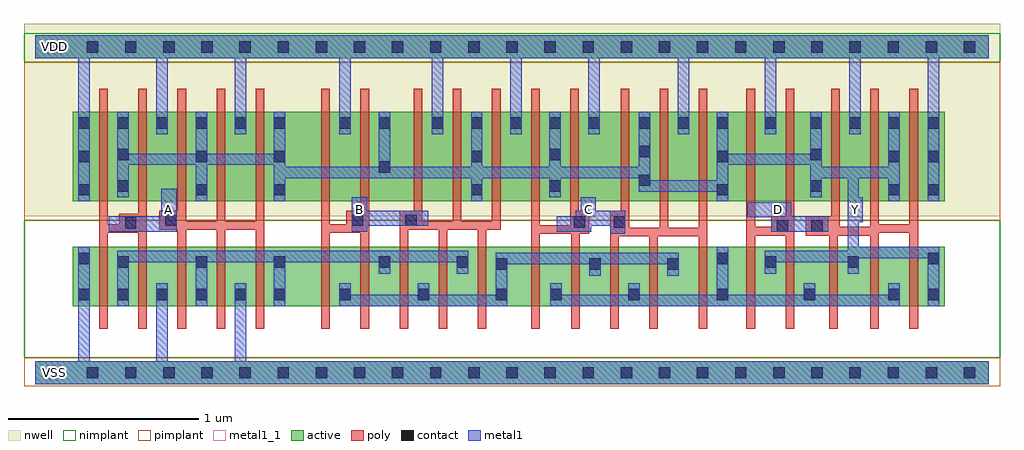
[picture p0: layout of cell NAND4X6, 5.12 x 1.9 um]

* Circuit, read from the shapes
.subckt NAND4X6 A B C D VDD VSS Y
M1 n1 A VSS VSS nfet w=0.31u l=0.045u m=5
M2 n2 B n1 VSS nfet w=0.31u l=0.045u m=5
M3 n3 C n2 VSS nfet w=0.31u l=0.045u m=5
M4 Y D n3 VSS nfet w=0.31u l=0.045u m=5
M5 Y A VDD VDD pfet w=0.47u l=0.045u m=5
M6 VDD B Y VDD pfet w=0.47u l=0.045u m=5
M7 Y C VDD VDD pfet w=0.47u l=0.045u m=5
M8 VDD D Y VDD pfet w=0.47u l=0.045u m=5
.ends

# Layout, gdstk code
import gdstk
lib = gdstk.Library(unit=1e-6, precision=5e-10)
def R(c, l, rs):  # rectangles x0, y0, x1, y1
    for r in rs: c.add(gdstk.rectangle(r[:2], r[2:], *l))
def A(c, l, x, y, w, h, nx, ny, dx, dy):  # array of equal rectangles
    R(c, l, [(x+i*dx, y+j*dy, x+i*dx+w, y+j*dy+h) for i in range(nx) for j in range(ny)])
def P(c, l, *ps):  # polygons
    for p in ps: c.add(gdstk.Polygon(p, *l))
active = (1, 0)
nwell = (2, 0)
poly = (3, 0)
nimplant = (4, 0)
pimplant = (5, 0)
contact = (6, 0)
metal1 = (7, 0)
metal1_1 = (7, 1)

nand4x6 = lib.new_cell('NAND4X6')
R(nand4x6, active, [(0,-0.06,5,0.06), (0.195,0.35,4.77,0.66), (0.195,0.9,4.77,1.37), (0,1.65,5,1.77)])
R(nand4x6, nwell, [(-0.06,0.82,5.06,1.83)])
P(nand4x6, poly, [(0.335,1.49),(0.38,1.49),(0.38,0.78),(0.44,0.78),(0.44,0.835),(0.54,0.835),(0.54,1.49),(0.585,1.49),(0.585,0.23),(0.54,0.23),(0.54,0.735),(0.38,0.735),(0.38,0.23),(0.335,0.23)],
  [(0.745,1.49),(0.79,1.49),(0.79,0.795),(0.95,0.795),(0.95,1.49),(0.995,1.49),(0.995,0.795),(1.155,0.795),(1.155,1.49),(1.2,1.49),(1.2,0.23),(1.155,0.23),(1.155,0.75),(0.995,0.75),(0.995,0.23),(0.95,0.23),(0.95,0.75),(0.79,0.75),(0.79,0.23),(0.745,0.23),(0.745,0.75),(0.65,0.75),(0.65,0.85),(0.745,0.85)],
  [(1.5,1.49),(1.545,1.49),(1.545,0.78),(1.63,0.78),(1.63,0.85),(1.705,0.85),(1.705,1.49),(1.75,1.49),(1.75,0.23),(1.705,0.23),(1.705,0.735),(1.545,0.735),(1.545,0.23),(1.5,0.23)],
  [(1.985,1.49),(2.03,1.49),(2.03,0.795),(2.19,0.795),(2.19,1.49),(2.235,1.49),(2.235,0.795),(2.395,0.795),(2.395,1.49),(2.44,1.49),(2.44,0.75),(2.365,0.75),(2.365,0.23),(2.32,0.23),(2.32,0.75),(2.16,0.75),(2.16,0.23),(2.115,0.23),(2.115,0.75),(1.955,0.75),(1.955,0.23),(1.91,0.23),(1.91,0.85),(1.985,0.85)],
  [(2.6,1.49),(2.645,1.49),(2.645,0.775),(2.805,0.775),(2.805,1.49),(2.85,1.49),(2.85,0.85),(2.905,0.85),(2.905,0.73),(2.855,0.73),(2.855,0.23),(2.81,0.23),(2.81,0.73),(2.645,0.73),(2.645,0.23),(2.6,0.23)],
  [(3.07,1.49),(3.115,1.49),(3.115,0.76),(3.275,0.76),(3.275,1.49),(3.32,1.49),(3.32,0.76),(3.48,0.76),(3.48,1.49),(3.525,1.49),(3.525,0.23),(3.48,0.23),(3.48,0.715),(3.265,0.715),(3.265,0.23),(3.22,0.23),(3.22,0.715),(3.06,0.715),(3.06,0.23),(3.015,0.23),(3.015,0.85),(3.07,0.85)],
  [(3.73,1.49),(3.775,1.49),(3.775,0.765),(3.86,0.765),(3.86,0.82),(3.935,0.82),(3.935,1.49),(3.98,1.49),(3.98,0.23),(3.935,0.23),(3.935,0.72),(3.775,0.72),(3.775,0.23),(3.73,0.23)],
  [(4.175,1.49),(4.22,1.49),(4.22,0.765),(4.38,0.765),(4.38,1.49),(4.425,1.49),(4.425,0.78),(4.585,0.78),(4.585,1.49),(4.63,1.49),(4.63,0.23),(4.585,0.23),(4.585,0.735),(4.425,0.735),(4.425,0.23),(4.38,0.23),(4.38,0.72),(4.21,0.72),(4.21,0.23),(4.165,0.23),(4.165,0.72),(4.04,0.72),(4.04,0.82),(4.175,0.82)])
R(nand4x6, nimplant, [(-0.06,0.08,5.06,0.8), (-0.06,1.63,5.06,1.78)])
R(nand4x6, pimplant, [(-0.06,-0.07,5.06,0.08), (-0.06,0.8,5.06,1.63)])
A(nand4x6, contact, 0.07, -0.03, 0.06, 0.06, 25, 2, 0.2, 1.71)
A(nand4x6, contact, 0.225, 0.38, 0.06, 0.06, 6, 2, 0.205, 0.9)
A(nand4x6, contact, 1.595, 0.38, 0.06, 0.06, 3, 1, 0.41, 0)
A(nand4x6, contact, 0.43, 0.55, 0.06, 0.06, 3, 1, 0.41, 0)
A(nand4x6, contact, 2.08, 1.28, 0.06, 0.06, 5, 1, 0.205, 0)
A(nand4x6, contact, 3.165, 1.28, 0.06, 0.06, 3, 1, 0.205, 0)
A(nand4x6, contact, 4.065, 1.28, 0.06, 0.06, 4, 1, 0.205, 0)
R(nand4x6, contact, [(2.7,0.38,2.76,0.44), (3.11,0.38,3.17,0.44), (3.575,0.38,3.635,0.44), (4.03,0.38,4.09,0.44), (4.475,0.38,4.535,0.44), (4.68,0.38,4.74,0.44), (2.415,0.54,2.475,0.6), (2.905,0.54,2.965,0.6), (3.315,0.54,3.375,0.6), (1.8,0.55,1.86,0.61), (2.21,0.55,2.27,0.61), (3.825,0.55,3.885,0.61), (4.26,0.55,4.32,0.61), (0.225,0.57,0.285,0.63), (3.575,0.57,3.635,0.63), (4.68,0.57,4.74,0.63), (3.89,0.74,3.95,0.8), (4.07,0.74,4.13,0.8), (0.47,0.755,0.53,0.815), (2.825,0.76,2.885,0.82), (3.035,0.76,3.095,0.82), (0.68,0.77,0.74,0.83), (1.66,0.77,1.72,0.83), (1.94,0.77,2,0.83), (0.225,0.93,0.285,0.99), (0.84,0.93,0.9,0.99), (1.25,0.93,1.31,0.99), (2.285,0.93,2.345,0.99), (3.575,0.93,3.635,0.99), (4.475,0.93,4.535,0.99), (4.68,0.93,4.74,0.99), (0.43,0.95,0.49,1.01), (2.695,0.95,2.755,1.01), (4.065,0.95,4.125,1.01), (3.165,0.98,3.225,1.04), (1.8,1.05,1.86,1.11), (0.225,1.105,0.285,1.165), (0.84,1.105,0.9,1.165), (1.25,1.105,1.31,1.165), (2.285,1.105,2.345,1.165), (3.575,1.105,3.635,1.165), (4.475,1.105,4.535,1.165), (4.68,1.105,4.74,1.165), (0.43,1.115,0.49,1.175), (2.695,1.115,2.755,1.175), (4.065,1.115,4.125,1.175), (3.165,1.13,3.225,1.19), (1.595,1.28,1.655,1.34), (1.8,1.28,1.86,1.34), (3.825,1.28,3.885,1.34)])
P(nand4x6, metal1, [(0,1.77),(5,1.77),(5,1.65),(4.74,1.65),(4.74,0.9),(4.68,0.9),(4.68,1.65),(4.33,1.65),(4.33,1.25),(4.27,1.25),(4.27,1.65),(3.885,1.65),(3.885,1.25),(3.825,1.25),(3.825,1.65),(3.43,1.65),(3.43,1.25),(3.37,1.25),(3.37,1.65),(2.96,1.65),(2.96,1.25),(2.9,1.25),(2.9,1.65),(2.55,1.65),(2.55,1.25),(2.49,1.25),(2.49,1.65),(2.14,1.65),(2.14,1.25),(2.08,1.25),(2.08,1.65),(1.655,1.65),(1.655,1.25),(1.595,1.25),(1.595,1.65),(1.105,1.65),(1.105,1.25),(1.045,1.25),(1.045,1.65),(0.695,1.65),(0.695,1.25),(0.635,1.25),(0.635,1.65),(0.285,1.65),(0.285,0.9),(0.225,0.9),(0.225,1.65),(0,1.65)],
  [(0.43,1.37),(0.49,1.37),(0.49,1.15),(0.84,1.15),(0.84,1.37),(0.9,1.37),(0.9,1.15),(1.25,1.15),(1.25,1.37),(1.31,1.37),(1.31,1.08),(1.8,1.08),(1.8,1.37),(1.86,1.37),(1.86,1.08),(2.285,1.08),(2.285,1.37),(2.345,1.37),(2.345,1.08),(2.695,1.08),(2.695,1.37),(2.755,1.37),(2.755,1.08),(3.165,1.08),(3.165,1.37),(3.225,1.37),(3.225,1.01),(3.575,1.01),(3.575,1.37),(3.635,1.37),(3.635,1.15),(4.065,1.15),(4.065,1.37),(4.125,1.37),(4.125,1.08),(4.475,1.08),(4.475,1.37),(4.535,1.37),(4.535,0.9),(4.475,0.9),(4.475,1.02),(4.32,1.02),(4.32,0.92),(4.34,0.92),(4.34,0.79),(4.32,0.79),(4.32,0.66),(4.74,0.66),(4.74,0.35),(4.68,0.35),(4.68,0.6),(4.32,0.6),(4.32,0.52),(4.26,0.52),(4.26,0.58),(3.885,0.58),(3.885,0.52),(3.825,0.52),(3.825,0.64),(4.26,0.64),(4.26,1.02),(4.125,1.02),(4.125,0.92),(4.065,0.92),(4.065,1.09),(3.635,1.09),(3.635,0.9),(3.575,0.9),(3.575,0.95),(3.165,0.95),(3.165,1.02),(2.755,1.02),(2.755,0.92),(2.695,0.92),(2.695,1.02),(2.345,1.02),(2.345,0.9),(2.285,0.9),(2.285,1.02),(1.31,1.02),(1.31,0.9),(1.25,0.9),(1.25,1.09),(0.9,1.09),(0.9,0.9),(0.84,0.9),(0.84,1.09),(0.49,1.09),(0.49,0.92),(0.43,0.92)],
  [(0.66,0.965),(0.74,0.965),(0.74,0.74),(0.385,0.74),(0.385,0.82),(0.66,0.82)],
  [(1.66,0.92),(1.74,0.92),(1.74,0.85),(2.06,0.85),(2.06,0.77),(1.74,0.77),(1.74,0.74),(1.66,0.74)],
  [(2.86,0.92),(2.94,0.92),(2.94,0.85),(3.095,0.85),(3.095,0.73),(3.015,0.73),(3.015,0.77),(2.915,0.77),(2.915,0.74),(2.735,0.74),(2.735,0.82),(2.835,0.82),(2.835,0.85),(2.86,0.85)],
  [(3.735,0.895),(3.965,0.895),(3.965,0.82),(4.16,0.82),(4.16,0.74),(3.86,0.74),(3.86,0.815),(3.735,0.815)],
  [(0.225,0.66),(0.285,0.66),(0.285,0.06),(0.635,0.06),(0.635,0.47),(0.695,0.47),(0.695,0.06),(1.045,0.06),(1.045,0.47),(1.105,0.47),(1.105,0.06),(5,0.06),(5,-0.06),(0,-0.06),(0,0.06),(0.225,0.06)],
  [(0.43,0.64),(2.27,0.64),(2.27,0.52),(2.21,0.52),(2.21,0.58),(1.86,0.58),(1.86,0.52),(1.8,0.52),(1.8,0.58),(1.31,0.58),(1.31,0.35),(1.25,0.35),(1.25,0.58),(0.9,0.58),(0.9,0.35),(0.84,0.35),(0.84,0.58),(0.49,0.58),(0.49,0.35),(0.43,0.35)],
  [(2.415,0.63),(3.375,0.63),(3.375,0.51),(3.315,0.51),(3.315,0.57),(2.965,0.57),(2.965,0.51),(2.905,0.51),(2.905,0.57),(2.475,0.57),(2.475,0.35),(1.595,0.35),(1.595,0.47),(1.655,0.47),(1.655,0.41),(2.005,0.41),(2.005,0.47),(2.065,0.47),(2.065,0.41),(2.415,0.41)],
  [(2.7,0.47),(2.76,0.47),(2.76,0.41),(3.11,0.41),(3.11,0.47),(3.17,0.47),(3.17,0.41),(3.575,0.41),(3.575,0.66),(3.635,0.66),(3.635,0.41),(4.03,0.41),(4.03,0.47),(4.09,0.47),(4.09,0.41),(4.475,0.41),(4.475,0.47),(4.535,0.47),(4.535,0.35),(2.7,0.35)])
R(nand4x6, metal1_1, [(0.06,-0.04,0.14,0.04), (0.66,0.815,0.74,0.895), (1.66,0.815,1.74,0.895), (2.86,0.815,2.94,0.895), (3.86,0.815,3.94,0.895), (4.26,0.815,4.34,0.895), (0.06,1.67,0.14,1.75)])
nand4x6.add(gdstk.Label('Y', (4.3,0.855), layer=7, texttype=1))
nand4x6.add(gdstk.Label('A', (0.7,0.855), layer=7, texttype=1))
nand4x6.add(gdstk.Label('B', (1.7,0.855), layer=7, texttype=1))
nand4x6.add(gdstk.Label('C', (2.9,0.855), layer=7, texttype=1))
nand4x6.add(gdstk.Label('D', (3.9,0.855), layer=7, texttype=1))
nand4x6.add(gdstk.Label('VDD', (0.1,1.71), layer=7, texttype=1))
nand4x6.add(gdstk.Label('VSS', (0.1,0), layer=7, texttype=1))
nand4x6.add(gdstk.Label('NAND4X6', (0,0), layer=63, texttype=0))

lib.write_gds('NAND4X6.gds')
